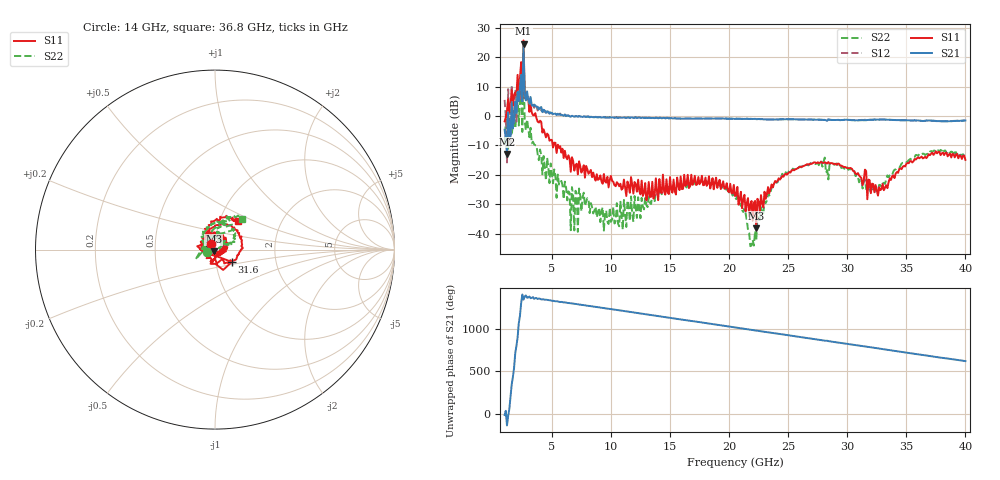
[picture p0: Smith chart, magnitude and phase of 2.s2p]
!Keysight Technologies,N5224A,MY55441802,A.10.65.16
!Date: Wednesday, May 13, 2026 18:33:58
!Correction: S11(Full 2 Port(1,2))
!S21(Full 2 Port(1,2))
!S12(Full 2 Port(1,2))
!S22(Full 2 Port(1,2))
!S2P File: Measurements: S11, S21, S12, S22:
# Hz S  dB  R 50
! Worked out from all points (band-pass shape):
!   391 points, 1 GHz to 40 GHz, reference 50 ohm
!   highest |S21| = 24.68 dB at 2.6 GHz (marker M1); lowest = -12.9 dB at 1.2 GHz (marker M2)
!   |S21| within 3 dB of the highest: 2.585 GHz to 2.617 GHz (32.49 MHz wide, 1.25 % of centre)
!   lowest |S11| = -38.2 dB at 22.3 GHz (marker M3), VSWR 1.02, Z = 49.2 - j0.956 ohm
!   |S11| at or under -10 dB: 5.073 GHz to 5.143 GHz (70.11 MHz wide, 1.37 % of centre); 5.326 GHz to 5.491 GHz (165.3 MHz wide, 3.06 % of centre); 5.524 GHz to end of sweep
!   |S22| runs from -44.3 to 18.3 dB; largest |S21 - S12| = 6.8
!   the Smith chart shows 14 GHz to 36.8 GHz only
!   S11 on the Smith chart (normalised r, x): 14 GHz: 0.96, +0.06; 31.6 GHz: 1.19, -0.17; 36.8 GHz: 1.22, +0.41
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1e9  -1.79 -79.3  -4.64 -17.2  5.49 -15.1  -9.48 -90.2
1.2e9  1.71 0.8  -12.90 -140.3  -15.80 -78.0  -0.49 -25.9
1.7e9  3.44 165.9  -4.22 71.6  -2.63 21.0  -2.62 40.9
1.9e9  8.03 -37.6  4.91 -10.2  8.83 -10.2  -4.19 56.1
2e9  6.86 164.9  1.12 77.9  -1.81 39.9  -0.18 27.6
2.1e9  14.01 -3.3  8.25 178.2  8.06 173.6  7.07 -26.0
2.3e9  12.90 149.0  10.17 74.8  5.13 54.7  5.98 13.6
2.4e9  18.36 42.2  14.01 -136.2  14.49 -140.9  10.33 18.8
2.5e9  5.94 -66.0  4.94 -36.0  6.77 -38.7  -5.40 19.6
2.6e9  25.75 -31.2  24.68 -95.7  20.40 -101.3  18.35 -171.6
2.7e9  8.51 121.4  7.32 -60.8  8.52 -65.3  -1.45 103.3
2.8e9  5.48 -76.9  5.31 -45.8  6.71 -48.4  -4.90 0.2
3e9  5.83 113.7  5.64 -69.5  6.95 -70.8  -4.29 90.1
7.5e9  -19.25 -14.7  -0.20 -157.8  -0.09 -157.0  -32.44 16.3
1.4e10  -28.63 121.8  -0.76 69.5  -0.73 69.5  -27.06 -165.4
2.05e10  -27.24 16.3  -0.98 -63.9  -0.89 -64.1  -27.67 40.7
2.23e10  -38.23 -127.7  -1.05 -101.1  -1.05 -101.3  -42.39 -136.2
2.7e10  -16.28 62.3  -1.21 162.6  -1.18 162.4  -16.24 83.0
3.16e10  -18.70 -36.4  -1.44 70.5  -1.38 69.9  -24.82 47.9
3.35e10  -22.51 151.2  -1.27 29.7  -1.24 29.3  -20.84 80.8
3.68e10  -13.75 50.9  -1.52 -37.3  -1.55 -37.7  -12.86 49.3
4e10  -14.93 -22.7  -1.50 -100.9  -1.53 -101.5  -13.14 -6.5
